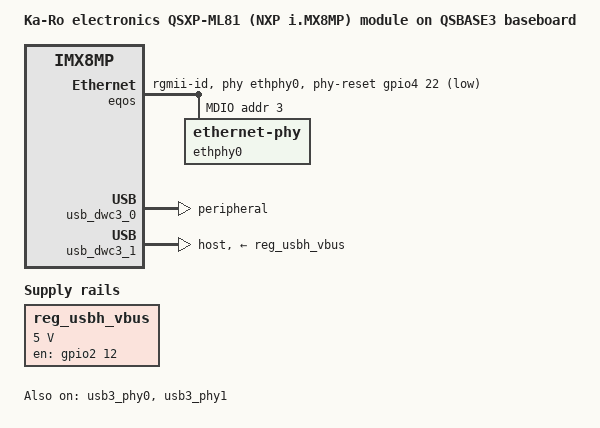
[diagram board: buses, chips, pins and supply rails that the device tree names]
// SPDX-License-Identifier: (GPL-2.0 OR MIT)
/*
 * Copyright (C) 2020 Lothar Waßmann <LW@KARO-electronics.de>
 *
 */

/dts-v1/;

#include "imx8mp-qsxp-ml81.dts"

/ {
	model = "Ka-Ro electronics QSXP-ML81 (NXP i.MX8MP) module on QSBASE3 baseboard";

	reg_usbh_vbus: regulator-usbh-vbus {
		/* Reset signal for Microchip USB5744 onboard hub */
		compatible = "regulator-fixed";
		pinctrl-names = "default";
		pinctrl-0 = <&pinctrl_usbh_vbus>;
		regulator-name = "usbh-vbus";
		regulator-min-microvolt = <5000000>;
		regulator-max-microvolt = <5000000>;
		gpio = <&gpio2 12 GPIO_ACTIVE_HIGH>;
		enable-active-high;
	};
};

&eqos {
	pinctrl-names = "default";
	pinctrl-0 = <&pinctrl_eqos &pinctrl_etnphy_rst_b>;
	phy-mode = "rgmii-id";
	phy-handle = <&ethphy0>;
	phy-reset-gpios = <&gpio4 22 GPIO_ACTIVE_LOW>;
	phy-reset-duration = <25000>; /* µs */
	phy-reset-post-delay = <100>;
	status = "okay";

	mdio {
		#address-cells = <1>;
		#size-cells = <0>;
		compatible = "snps,dwmac-mdio";

		ethphy0: ethernet-phy@3 {
			reg = <3>;
		};
	};
};

&usb_dwc3_0 {
	dr_mode = "peripheral";
	hnp-disable;
	srp-disable;
	adp-disable;
	status = "okay";
};

&usb_dwc3_1 {
	dr_mode = "host";
	vbus-supply = <&reg_usbh_vbus>;
	status = "okay";
};

&usb3_phy0 {
	status = "okay";
};

&usb3_phy1 {
	status = "okay";
};

&usdhc2 {
	status = "disabled";
};

&iomuxc {
	pinctrl_etnphy_rst_b: etnphy-rst-bgrp {
		fsl,pins = <
			    MX8MP_IOMUXC_SAI2_RXC__GPIO4_IO22			0x140
		>;
	};

	pinctrl_eqos: eqosgrp {
		fsl,pins = <
			    MX8MP_IOMUXC_ENET_MDC__ENET_QOS_MDC			0x142
			    MX8MP_IOMUXC_ENET_MDIO__ENET_QOS_MDIO		0x142
			    MX8MP_IOMUXC_ENET_TXC__ENET_QOS_RGMII_TX_CLK	0x40000016
			    MX8MP_IOMUXC_ENET_TD0__ENET_QOS_RGMII_TD0		0x016
			    MX8MP_IOMUXC_ENET_TD1__ENET_QOS_RGMII_TD1		0x016
			    MX8MP_IOMUXC_ENET_TD2__ENET_QOS_RGMII_TD2		0x016
			    MX8MP_IOMUXC_ENET_TD3__ENET_QOS_RGMII_TD3		0x016
			    MX8MP_IOMUXC_ENET_TX_CTL__ENET_QOS_RGMII_TX_CTL	0x016
			    /* KSZ9031 strap pins: 0x116 => 0; 0x156 => 1 */
			    MX8MP_IOMUXC_ENET_RD0__ENET_QOS_RGMII_RD0		0x150 /* MODE0 */
			    MX8MP_IOMUXC_ENET_RD1__ENET_QOS_RGMII_RD1		0x150 /* MODE1 */
			    MX8MP_IOMUXC_ENET_RD2__ENET_QOS_RGMII_RD2		0x150 /* MODE2 */
			    MX8MP_IOMUXC_ENET_RD3__ENET_QOS_RGMII_RD3		0x150 /* MODE3 */
			    MX8MP_IOMUXC_ENET_RXC__ENET_QOS_RGMII_RX_CLK	0x116 /* PHYAD2 */
			    MX8MP_IOMUXC_ENET_RX_CTL__ENET_QOS_RGMII_RX_CTL	0x116 /* CLK125EN */
			    /* LED_MODE: dual-led/tri-color: 0 single LED: 1 */
			    MX8MP_IOMUXC_GPIO1_IO00__GPIO1_IO00			0x110
		>;
	};

	pinctrl_usbh_vbus: usbh-vbusgrp {
		fsl,pins = <
			MX8MP_IOMUXC_SD2_CD_B__GPIO2_IO12			0x06
		>;
	};
};
